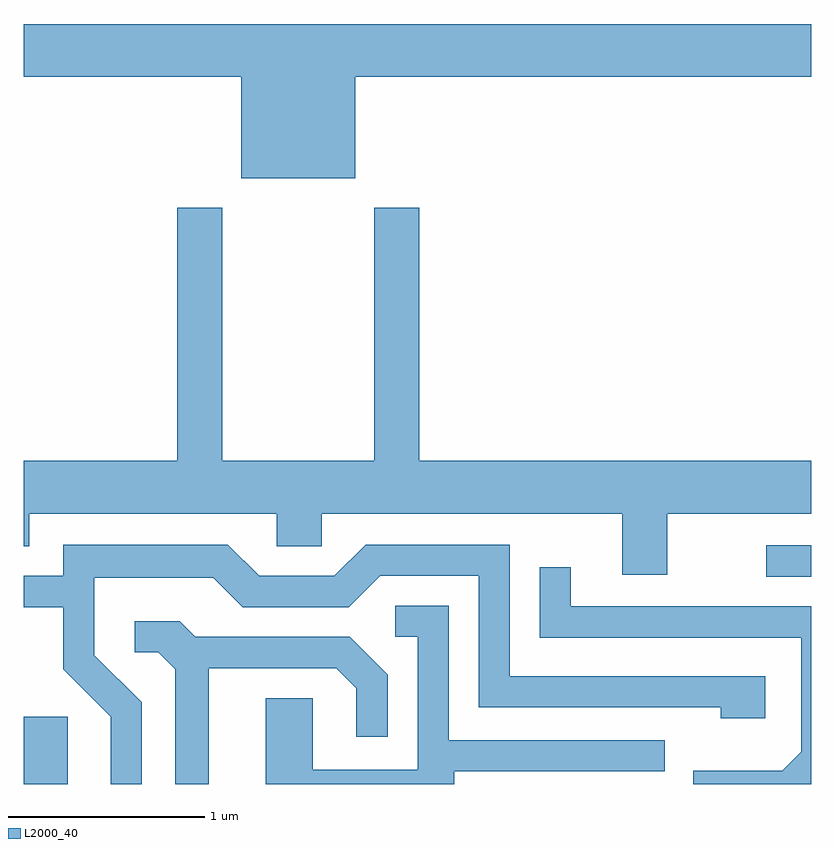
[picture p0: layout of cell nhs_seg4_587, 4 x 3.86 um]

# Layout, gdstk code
import gdstk
lib = gdstk.Library(unit=1e-6, precision=1e-09)
def R(c, l, rs):  # rectangles x0, y0, x1, y1
    for r in rs: c.add(gdstk.rectangle(r[:2], r[2:], *l))
def P(c, l, *ps):  # polygons
    for p in ps: c.add(gdstk.Polygon(p, *l))
L2000_40 = (2000, 40)

nhs_seg4_587 = lib.new_cell('nhs_seg4_587')
R(nhs_seg4_587, L2000_40, [(201.611,1339.982,201.834,1340.324), (205.383,1341.036,205.611,1341.194)])
P(nhs_seg4_587, L2000_40, [(203.294,1343.576),(205.611,1343.576),(205.611,1343.844),(201.611,1343.844),(201.611,1343.576),(202.716,1343.576),(202.716,1343.061),(203.294,1343.061)],
  [(204.879,1341.356),(205.611,1341.356),(205.611,1341.624),(203.619,1341.624),(203.619,1342.909),(203.391,1342.909),(203.391,1341.624),(202.619,1341.624),(202.619,1342.909),(202.391,1342.909),(202.391,1341.624),(201.611,1341.624),(201.611,1341.191),(201.639,1341.191),(201.639,1341.356),(202.896,1341.356),(202.896,1341.191),(203.124,1341.191),(203.124,1341.356),(204.651,1341.356),(204.651,1341.046),(204.879,1341.046)],
  [(202.209,1340.397),(201.969,1340.637),(201.969,1341.031),(202.574,1341.031),(202.724,1340.881),(203.262,1340.881),(203.422,1341.041),(203.921,1341.041),(203.921,1340.371),(205.151,1340.371),(205.151,1340.316),(205.379,1340.316),(205.379,1340.529),(204.079,1340.529),(204.079,1341.199),(203.349,1341.199),(203.189,1341.039),(202.807,1341.039),(202.647,1341.199),(201.811,1341.199),(201.811,1341.039),(201.611,1341.039),(201.611,1340.881),(201.811,1340.881),(201.811,1340.564),(202.051,1340.324),(202.051,1339.982),(202.209,1339.982)],
  [(205.611,1340.884),(204.389,1340.884),(204.389,1341.083),(204.231,1341.083),(204.231,1340.726),(205.561,1340.726),(205.561,1340.147),(205.464,1340.049),(205.011,1340.049),(205.011,1339.982),(205.611,1339.982)],
  [(203.799,1340.046),(204.868,1340.046),(204.868,1340.204),(203.769,1340.204),(203.769,1340.889),(203.498,1340.889),(203.498,1340.731),(203.611,1340.731),(203.611,1340.054),(203.079,1340.054),(203.079,1340.419),(202.841,1340.419),(202.841,1339.982),(203.799,1339.982)],
  [(202.549,1340.571),(203.199,1340.571),(203.301,1340.469),(203.301,1340.223),(203.459,1340.223),(203.459,1340.537),(203.267,1340.729),(202.482,1340.729),(202.402,1340.809),(202.173,1340.809),(202.173,1340.651),(202.294,1340.651),(202.381,1340.564),(202.381,1339.982),(202.549,1339.982)])

lib.write_gds('nhs_seg4_587.gds')
